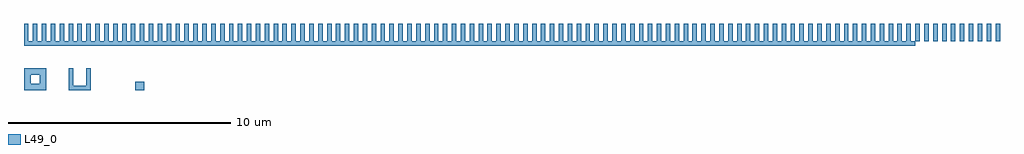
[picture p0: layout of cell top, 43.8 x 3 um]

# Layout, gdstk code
import gdstk
lib = gdstk.Library(unit=1e-6, precision=1e-09)
def R(c, l, rs):  # rectangles x0, y0, x1, y1
    for r in rs: c.add(gdstk.rectangle(r[:2], r[2:], *l))
def A(c, l, x, y, w, h, nx, ny, dx, dy):  # array of equal rectangles
    R(c, l, [(x+i*dx, y+j*dy, x+i*dx+w, y+j*dy+h) for i in range(nx) for j in range(ny)])
def P(c, l, *ps):  # polygons
    for p in ps: c.add(gdstk.Polygon(p, *l))
L49_0 = (49, 0)

top = lib.new_cell('top')
A(top, L49_0, 0, 2.2, 0.2, 0.8, 110, 1, 0.4, 0)
R(top, L49_0, [(5,0,5.4,0.4)])
P(top, L49_0, [(40,2.2),(39.6,2.2),(39.4,2.2),(39.2,2.2),(39,2.2),(38.8,2.2),(38.6,2.2),(38.4,2.2),(38.2,2.2),(38,2.2),(37.8,2.2),(37.6,2.2),(37.4,2.2),(37.2,2.2),(37,2.2),(36.8,2.2),(36.6,2.2),(36.4,2.2),(36.2,2.2),(36,2.2),(35.8,2.2),(35.6,2.2),(35.4,2.2),(35.2,2.2),(35,2.2),(34.8,2.2),(34.6,2.2),(34.4,2.2),(34.2,2.2),(34,2.2),(33.8,2.2),(33.6,2.2),(33.4,2.2),(33.2,2.2),(33,2.2),(32.8,2.2),(32.6,2.2),(32.4,2.2),(32.2,2.2),(32,2.2),(31.8,2.2),(31.6,2.2),(31.4,2.2),(31.2,2.2),(31,2.2),(30.8,2.2),(30.6,2.2),(30.4,2.2),(30.2,2.2),(30,2.2),(29.8,2.2),(29.6,2.2),(29.4,2.2),(29.2,2.2),(29,2.2),(28.8,2.2),(28.6,2.2),(28.4,2.2),(28.2,2.2),(28,2.2),(27.8,2.2),(27.6,2.2),(27.4,2.2),(27.2,2.2),(27,2.2),(26.8,2.2),(26.6,2.2),(26.4,2.2),(26.2,2.2),(26,2.2),(25.8,2.2),(25.6,2.2),(25.4,2.2),(25.2,2.2),(25,2.2),(24.8,2.2),(24.6,2.2),(24.4,2.2),(24.2,2.2),(24,2.2),(23.8,2.2),(23.6,2.2),(23.4,2.2),(23.2,2.2),(23,2.2),(22.8,2.2),(22.6,2.2),(22.4,2.2),(22.2,2.2),(22,2.2),(21.8,2.2),(21.6,2.2),(21.4,2.2),(21.2,2.2),(21,2.2),(20.8,2.2),(20.6,2.2),(20.4,2.2),(20.2,2.2),(20,2.2),(19.8,2.2),(19.6,2.2),(19.4,2.2),(19.2,2.2),(19,2.2),(18.8,2.2),(18.6,2.2),(18.4,2.2),(18.2,2.2),(18,2.2),(17.8,2.2),(17.6,2.2),(17.4,2.2),(17.2,2.2),(17,2.2),(16.8,2.2),(16.6,2.2),(16.4,2.2),(16.2,2.2),(16,2.2),(15.8,2.2),(15.6,2.2),(15.4,2.2),(15.2,2.2),(15,2.2),(14.8,2.2),(14.6,2.2),(14.4,2.2),(14.2,2.2),(14,2.2),(13.8,2.2),(13.6,2.2),(13.4,2.2),(13.2,2.2),(13,2.2),(12.8,2.2),(12.6,2.2),(12.4,2.2),(12.2,2.2),(12,2.2),(11.8,2.2),(11.6,2.2),(11.4,2.2),(11.2,2.2),(11,2.2),(10.8,2.2),(10.6,2.2),(10.4,2.2),(10.2,2.2),(10,2.2),(9.8,2.2),(9.6,2.2),(9.4,2.2),(9.2,2.2),(9,2.2),(8.8,2.2),(8.6,2.2),(8.4,2.2),(8.2,2.2),(8,2.2),(7.8,2.2),(7.6,2.2),(7.4,2.2),(7.2,2.2),(7,2.2),(6.8,2.2),(6.6,2.2),(6.4,2.2),(6.2,2.2),(6,2.2),(5.8,2.2),(5.6,2.2),(5.4,2.2),(5.2,2.2),(5,2.2),(4.8,2.2),(4.6,2.2),(4.4,2.2),(4.2,2.2),(4,2.2),(3.8,2.2),(3.6,2.2),(3.4,2.2),(3.2,2.2),(3,2.2),(2.8,2.2),(2.6,2.2),(2.4,2.2),(2.2,2.2),(2,2.2),(1.8,2.2),(1.6,2.2),(1.4,2.2),(1.2,2.2),(1,2.2),(0.8,2.2),(0.6,2.2),(0.4,2.2),(0.2,2.2),(0,2.2),(0,2),(40,2)],
  [(1,1),(0,1),(0,0.7),(0.7,0.7),(0.7,0.3),(0.3,0.3),(0.3,0.7),(0,0.7),(0,0),(1,0)],
  [(2.2,1),(2,1),(2,0),(3,0),(3,1),(2.8,1),(2.8,0.2),(2.2,0.2)])

lib.write_gds('top.gds')
